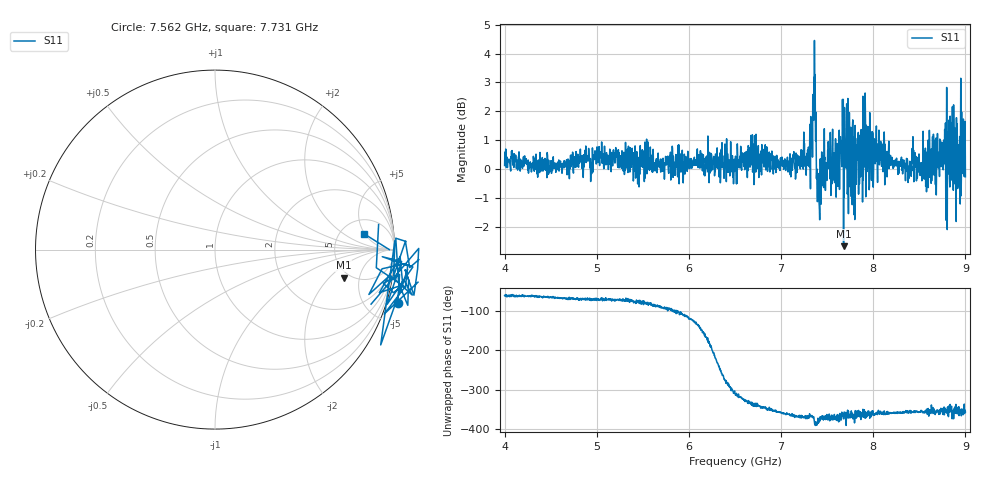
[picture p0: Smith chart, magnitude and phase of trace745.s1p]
! Created with skrf 1.8.0 (http://scikit-rf.org).
# Hz S RI R 50.0
!freq ReS11 ImS11
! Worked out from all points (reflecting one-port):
!   1601 points, 4 GHz to 9 GHz, reference 50 ohm
!   lowest |S11| = -2.7 dB at 7.678 GHz (marker M1), VSWR 6.53, Z = 222 - j150 ohm
!   phase of S11 starts at -62 deg and turns -294 deg over the sweep
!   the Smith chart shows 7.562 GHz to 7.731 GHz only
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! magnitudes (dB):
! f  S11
! 4 GHz  0.1
! 4.625 GHz  -0.1
! 5.25 GHz  0.1
! 5.875 GHz  0.3
! 6.5 GHz  0.2
! 6.662 GHz  0.1
! 7.125 GHz  0.4
! 7.294 GHz  0.1
! 7.356 GHz  3.2
! 7.409 GHz  -0.2
! 7.45 GHz  -0.2
! 7.591 GHz  1.0
! 7.65 GHz  0.8
! 7.678 GHz  -2.7
! 7.75 GHz  -0.6
! 7.784 GHz  1.1
! 7.891 GHz  -0.4
! 7.981 GHz  -0.4
! 8.097 GHz  0.1
! 8.375 GHz  0.1
! 8.441 GHz  -0.4
! 8.594 GHz  1.0
! 8.759 GHz  0.0
! 8.806 GHz  1.3
! 8.884 GHz  1.4
! 8.919 GHz  -0.6
! 8.972 GHz  0.4
! 9 GHz  -0.3
